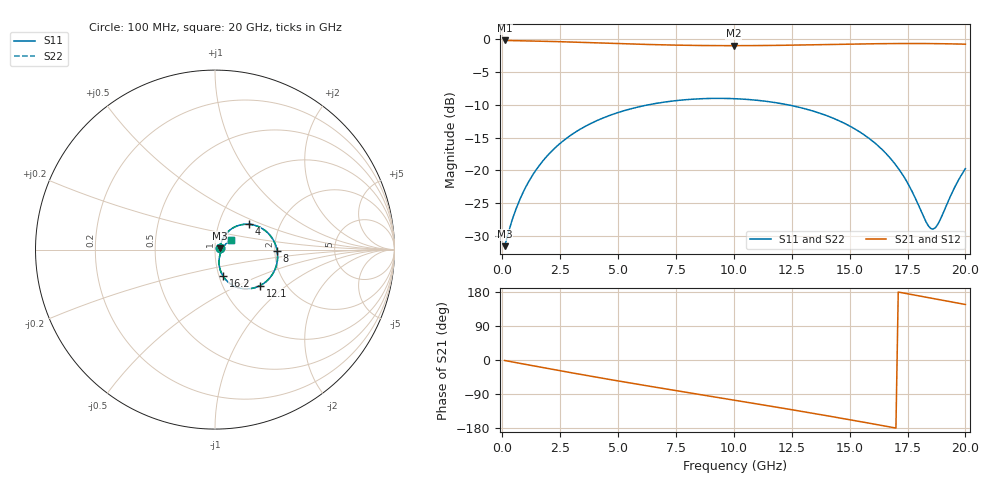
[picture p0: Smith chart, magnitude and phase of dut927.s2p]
! Touchstone file exported from HFSS 2026.1.0
!  File:  C:/ffzhzh/LocalFiles/Ansys_Project_Files/temp_train_TSV_RDL_927_1783279922_39728.aedt
!  Generated:  03:43:30 AM Jul  6, 2026
!  Design:  TSV_RDL
!  Project:  temp_train_TSV_RDL_927_1783279922_39728
! Variables:
!  h_bsmrdl = 3.26um
!  h_ox = 20um
!  h_rdl = 5um
!  h_sub = 94.61um
!  h_tmrdl = 4.53um
!  h_tsv = 94.61um
!  h_via = 3um
!  l_bsmrdl = 574.89um
!  l_sub = 3183.24um
!  l_tmrdl = 236.06um
!  m_sub = 200um
!  pitch = 28.07um
!  r_tsv = 3um
!  s_tmrdl = 10um
!  w_bsmrdl = 13.27um
!  w_sub = 500um
!  w_tmrdl = 24.84um
!  x_tsv_center1 = 248.48um
!  x_tsv_center2 = 836.64um
!  x_tsv_center3 = 1097.54um
!  x_tsv_center4 = 1685.7um
!  x_tsv_center5 = 1946.6um
!  x_tsv_center6 = 2534.76um
# GHz S MA R 50.000000
! Terminal data exported
! Port[1] = TM_RDL1_1_T1
! Port[2] = TM_RDL5_1_T1
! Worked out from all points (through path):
!   200 points, 100 MHz to 20 GHz, reference 50 ohm
!   highest |S21| = -0.22 dB at 100 MHz (marker M1); lowest = -1.0 dB at 10 GHz (marker M2)
!   group delay of S21, straight-line fit = 29.1 ps
!   lowest |S11| = -31.5 dB at 100 MHz (marker M3), VSWR 1.05, Z = 52.6 + j0.795 ohm
!   |S11| at or under -10 dB: start of sweep to 6.334 GHz; 12.31 GHz to end of sweep
!   |S22| runs from -31.5 to -9.0 dB; largest |S21 - S12| = 5.5e-14
!   S11 on the Smith chart (normalised r, x): 100 MHz: 1.05, +0.02; 4 GHz: 1.39, +0.42; 8 GHz: 2.06, -0.02; 12.1 GHz: 1.49, -0.67; 16.2 GHz: 1.05, -0.32; 20 GHz: 1.18, +0.13
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0.1  0.02651 16.6  0.9747 -1.2  0.9747 -1.2  0.02651 16.6
! Gamma 0 0 0 0
! Port Impedance 50 0 50 0
0.7  0.05673 50.5  0.9692 -8.1  0.9692 -8.1  0.05673 50.5
1.4  0.0974 55.3  0.9643 -16.0  0.9643 -16.0  0.0974 55.3
2.3  0.1496 51.3  0.956 -26.1  0.956 -26.1  0.1496 51.3
3.5  0.2124 41.4  0.9419 -39.3  0.9419 -39.3  0.2124 41.4
4  0.2355 36.8  0.9355 -44.6  0.9355 -44.6  0.2355 36.8
5.4  0.2894 23.6  0.9182 -59.4  0.9182 -59.4  0.2894 23.6
6.8  0.3269 10.4  0.9037 -73.7  0.9037 -73.7  0.3269 10.4
8  0.3461 -0.8  0.8951 -85.8  0.8951 -85.8  0.3461 -0.9
10  0.3515 -19.4  0.8897 -105.8  0.8897 -105.8  0.3515 -19.4
10.1  0.3509 -20.3  0.8897 -106.8  0.8897 -106.8  0.3509 -20.3
12.1  0.3212 -38.7  0.8954 -127.0  0.8954 -127.0  0.3213 -38.7
13.4  0.2836 -50.5  0.9032 -140.5  0.9032 -140.5  0.2836 -50.5
15  0.2178 -64.4  0.914 -157.5  0.914 -157.5  0.2178 -64.4
16.2  0.1556 -72.9  0.9207 -170.7  0.9207 -170.7  0.1556 -73.0
16.7  0.1272 -75.2  0.9226 -176.2  0.9226 -176.2  0.1272 -75.2
17.4  0.08621 -74.4  0.924 175.9  0.924 175.9  0.08622 -74.4
18.3  0.04058 -46.8  0.9233 165.8  0.9233 165.8  0.04058 -46.8
18.6  0.03575 -20.1  0.9224 162.4  0.9224 162.4  0.03575 -20.1
18.8  0.03863 -1.6  0.9216 160.1  0.9216 160.1  0.03863 -1.6
19.5  0.07209 28.9  0.9175 152.2  0.9175 152.2  0.07209 28.8
20  0.1031 33.0  0.9133 146.5  0.9133 146.5  0.1031 32.9
